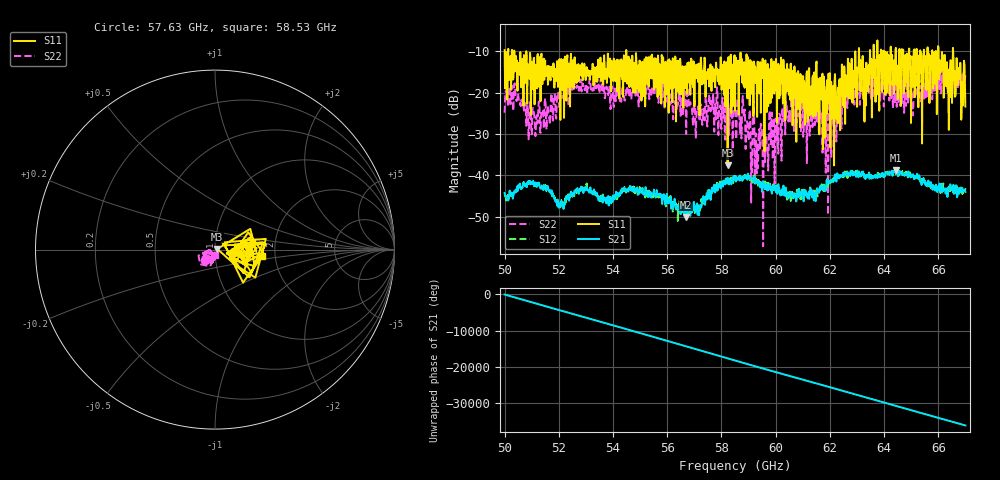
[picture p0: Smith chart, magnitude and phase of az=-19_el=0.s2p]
!Created with skrf (http://scikit-rf.org).
# GHz S RI R 50.0
!freq ReS11 ImS11 ReS21 ImS21 ReS12 ImS12 ReS22 ImS22
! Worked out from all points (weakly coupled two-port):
!   1001 points, 50 GHz to 67 GHz, reference 50 ohm
!   highest |S21| = -38.82 dB at 64.45 GHz (marker M1); lowest = -50.1 dB at 56.68 GHz (marker M2)
!   lowest |S11| = -37.6 dB at 58.23 GHz (marker M3), VSWR 1.03, Z = 51.3 + j0.357 ohm
!   |S11| at or under -10 dB: 50.8 GHz to 54.49 GHz (3.687 GHz wide, 7 % of centre); 54.49 GHz to 62.94 GHz (8.447 GHz wide, 14.4 % of centre); 66.01 GHz to 66.54 GHz (528.5 MHz wide, 0.798 % of centre) (the widest 3 of 29)
!   |S22| runs from -57.2 to -13.8 dB; largest |S21 - S12| = 0.0025
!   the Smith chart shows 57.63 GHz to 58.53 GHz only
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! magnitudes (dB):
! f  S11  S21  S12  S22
! 50 GHz  -9.7  -44.3  -44.9  -24.8
! 50.42 GHz  -13.1  -44.1  -44.1  -21.6
! 51.07 GHz  -11.6  -41.9  -41.6  -24.2
! 52.09 GHz  -11.8  -46.2  -46.0  -20.5
! 52.84 GHz  -13.7  -42.9  -43.2  -19.7
! 55.68 GHz  -13.4  -44.8  -44.4  -22.4
! 56.68 GHz  -18.9  -50.1  -48.5  -23.0
! 58.23 GHz  -37.6  -41.8  -41.5  -22.9
! 58.5 GHz  -24.4  -40.8  -40.6  -24.2
! 59.61 GHz  -12.5  -43.4  -41.4  -36.8
! 59.84 GHz  -11.8  -43.4  -43.0  -25.2
! 60.03 GHz  -14.5  -43.4  -42.7  -31.6
! 60.34 GHz  -14.3  -44.6  -43.3  -25.6
! 61.34 GHz  -25.4  -43.6  -44.2  -25.9
! 62 GHz  -15.2  -42.0  -41.8  -25.4
! 62.55 GHz  -15.0  -40.2  -39.1  -19.3
! 63.33 GHz  -23.1  -40.0  -40.4  -19.3
! 63.69 GHz  -22.2  -40.6  -40.6  -16.4
! 64.18 GHz  -17.6  -39.8  -39.3  -18.4
! 64.45 GHz  -18.1  -38.8  -38.7  -18.7
! 66.06 GHz  -15.3  -44.1  -42.6  -14.9
! 67 GHz  -23.3  -44.0  -43.1  -15.8
